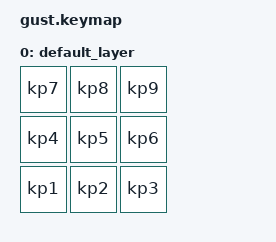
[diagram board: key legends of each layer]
/*
 * Copyright (c) 2020 The ZMK Contributors
 *
 * SPDX-License-Identifier: MIT
 */

#include <behaviors.dtsi>
#include <dt-bindings/zmk/bt.h>
#include <dt-bindings/zmk/keys.h>

&sensors {
};

/ {
    keymap {
        compatible = "zmk,keymap";
        default_layer {
            bindings = <
                &kp KP_NUMBER_7 &kp KP_NUMBER_8 &kp KP_NUMBER_9
                &kp KP_NUMBER_4 &kp KP_NUMBER_5 &kp KP_NUMBER_6
                &kp KP_NUMBER_1 &kp KP_NUMBER_2 &kp KP_NUMBER_3
            >;
        };
    };
};
